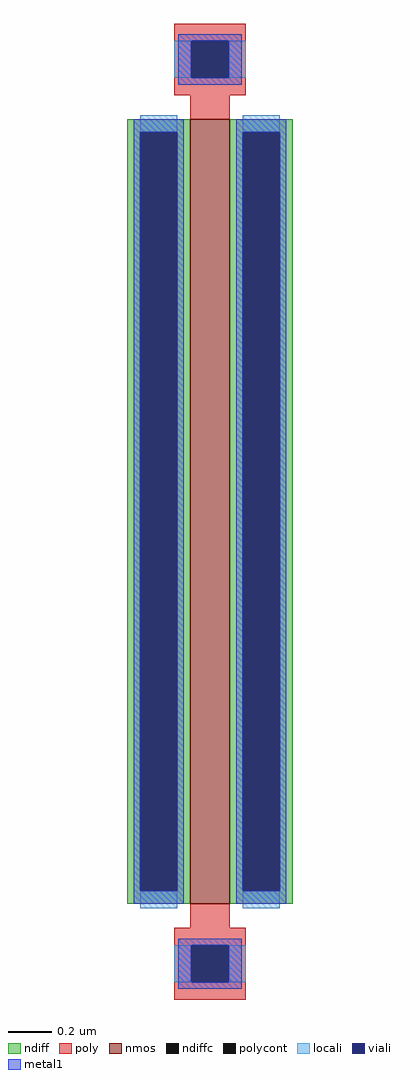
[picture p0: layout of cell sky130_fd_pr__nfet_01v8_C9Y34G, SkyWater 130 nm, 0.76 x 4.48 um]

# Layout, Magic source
magic
tech sky130A
magscale 1 2
<< nmos >>
rect -18 -360 18 360
<< ndiff >>
rect -76 348 -18 360
rect -76 -348 -64 348
rect -30 -348 -18 348
rect -76 -360 -18 -348
rect 18 348 76 360
rect 18 -348 30 348
rect 64 -348 76 348
rect 18 -360 76 -348
<< ndiffc >>
rect -64 -348 -30 348
rect 30 -348 64 348
<< poly >>
rect -33 432 33 448
rect -33 398 -17 432
rect 17 398 33 432
rect -33 382 33 398
rect -18 360 18 382
rect -18 -382 18 -360
rect -33 -398 33 -382
rect -33 -432 -17 -398
rect 17 -432 33 -398
rect -33 -448 33 -432
<< polycont >>
rect -17 398 17 432
rect -17 -432 17 -398
<< locali >>
rect -33 398 -17 432
rect 17 398 33 432
rect -64 348 -30 364
rect -64 -364 -30 -348
rect 30 348 64 364
rect 30 -364 64 -348
rect -33 -432 -17 -398
rect 17 -432 33 -398
<< viali >>
rect -17 398 17 432
rect -64 -348 -30 348
rect 30 -348 64 348
rect -17 -432 17 -398
<< metal1 >>
rect -29 432 29 438
rect -29 398 -17 432
rect 17 398 29 432
rect -29 392 29 398
rect -70 348 -24 360
rect -70 -348 -64 348
rect -30 -348 -24 348
rect -70 -360 -24 -348
rect 24 348 70 360
rect 24 -348 30 348
rect 64 -348 70 348
rect 24 -360 70 -348
rect -29 -398 29 -392
rect -29 -432 -17 -398
rect 17 -432 29 -398
rect -29 -438 29 -432
<< properties >>
string gencell sky130_fd_pr__nfet_01v8
string library sky130
string parameters w 3.6 l 0.18 m 1 nf 1 diffcov 100 polycov 100 guard 0 glc 1 grc 1 gtc 1 gbc 1 tbcov 100 rlcov 100 topc 1 botc 1 poverlap 0 doverlap 1 lmin 0.15 wmin 0.42 compatible {sky130_fd_pr__nfet_01v8 sky130_fd_pr__nfet_01v8_lvt  sky130_fd_bs_flash__special_sonosfet_star  sky130_fd_pr__nfet_g5v0d10v5 sky130_fd_pr__nfet_05v0_nvt  sky130_fd_pr__nfet_03v3_nvt} full_metal 1 viasrc 100 viadrn 100 viagate 100 viagb 0 viagr 0 viagl 0 viagt 0
<< end >>
